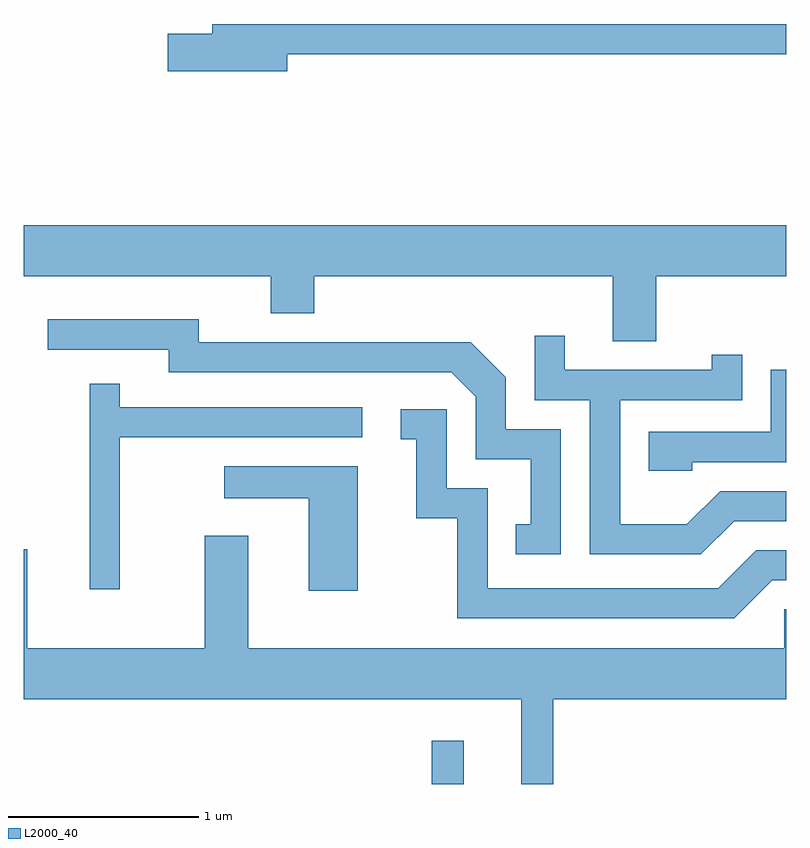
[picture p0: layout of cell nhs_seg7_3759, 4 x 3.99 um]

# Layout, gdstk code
import gdstk
lib = gdstk.Library(unit=1e-6, precision=1e-09)
def R(c, l, rs):  # rectangles x0, y0, x1, y1
    for r in rs: c.add(gdstk.rectangle(r[:2], r[2:], *l))
def P(c, l, *ps):  # polygons
    for p in ps: c.add(gdstk.Polygon(p, *l))
L2000_40 = (2000, 40)

nhs_seg7_3759 = lib.new_cell('nhs_seg7_3759')
R(nhs_seg7_3759, L2000_40, [(301.751,1778.252,301.919,1778.478)])
P(nhs_seg7_3759, L2000_40, [(300.994,1782.081),(303.611,1782.081),(303.611,1782.239),(300.601,1782.239),(300.601,1782.189),(300.366,1782.189),(300.366,1781.991),(300.994,1781.991)],
  [(302.929,1780.916),(303.611,1780.916),(303.611,1781.184),(299.611,1781.184),(299.611,1780.916),(300.906,1780.916),(300.906,1780.721),(301.134,1780.721),(301.134,1780.916),(302.701,1780.916),(302.701,1780.576),(302.929,1780.576)],
  [(302.429,1780.114),(302.139,1780.114),(302.139,1780.387),(301.957,1780.569),(300.529,1780.569),(300.529,1780.689),(299.738,1780.689),(299.738,1780.531),(300.371,1780.531),(300.371,1780.411),(301.854,1780.411),(301.981,1780.284),(301.981,1779.956),(302.271,1779.956),(302.271,1779.614),(302.193,1779.614),(302.193,1779.456),(302.429,1779.456)],
  [(303.337,1779.631),(303.611,1779.631),(303.611,1779.789),(303.264,1779.789),(303.089,1779.614),(302.739,1779.614),(302.739,1780.266),(303.379,1780.266),(303.379,1780.503),(303.221,1780.503),(303.221,1780.424),(302.449,1780.424),(302.449,1780.603),(302.291,1780.603),(302.291,1780.266),(302.581,1780.266),(302.581,1779.456),(303.162,1779.456)],
  [(303.119,1779.941),(303.611,1779.941),(303.611,1780.424),(303.531,1780.424),(303.531,1780.099),(302.891,1780.099),(302.891,1779.896),(303.119,1779.896)],
  [(300.114,1780.071),(301.388,1780.071),(301.388,1780.229),(300.114,1780.229),(300.114,1780.353),(299.956,1780.353),(299.956,1779.273),(300.114,1779.273)],
  [(303.537,1779.321),(303.611,1779.321),(303.611,1779.479),(303.454,1779.479),(303.254,1779.279),(302.044,1779.279),(302.044,1779.804),(301.829,1779.804),(301.829,1780.219),(301.588,1780.219),(301.588,1780.061),(301.671,1780.061),(301.671,1779.646),(301.886,1779.646),(301.886,1779.121),(303.337,1779.121)],
  [(301.364,1779.919),(300.663,1779.919),(300.663,1779.751),(301.106,1779.751),(301.106,1779.266),(301.364,1779.266)],
  [(302.389,1778.696),(303.611,1778.696),(303.611,1779.169),(303.601,1779.169),(303.601,1778.964),(300.789,1778.964),(300.789,1779.554),(300.561,1779.554),(300.561,1778.964),(299.629,1778.964),(299.629,1779.484),(299.611,1779.484),(299.611,1778.696),(302.221,1778.696),(302.221,1778.252),(302.389,1778.252)])

lib.write_gds('nhs_seg7_3759.gds')
